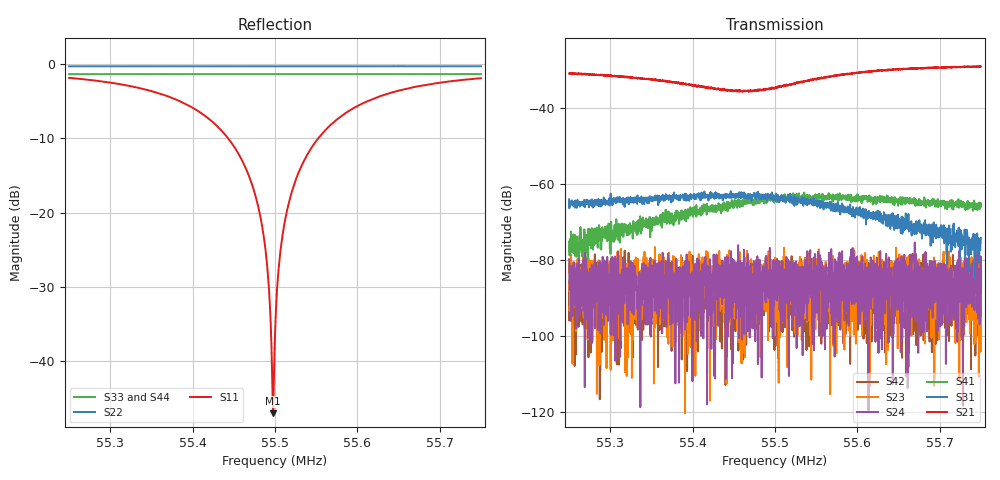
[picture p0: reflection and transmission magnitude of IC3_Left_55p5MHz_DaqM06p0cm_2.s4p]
#  HZ  S  DB  R  50.00
! Rohde & Schwarz Vector Network Analyzer
! Rohde-Schwarz,ZNB8-4Port,1311601044102961,2.82
! Created: UTC 2/13/2019, 9:27:12 AM
! freq[Hz]  db:S11  ang:S11  db:S12  ang:S12  db:S13  ang:S13  db:S14  ang:S14
!  db:S21  ang:S21  db:S22  ang:S22  db:S23  ang:S23  db:S24  ang:S24
!  db:S31  ang:S31  db:S32  ang:S32  db:S33  ang:S33  db:S34  ang:S34
!  db:S41  ang:S41  db:S42  ang:S42  db:S43  ang:S43  db:S44  ang:S44
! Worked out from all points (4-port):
!   2001 points, 55.25 MHz to 55.75 MHz, reference 50 ohm
!   strongest paths, dB at 55.25 MHz, 55.375 MHz, 55.5 MHz, 55.625 MHz, 55.75 MHz:
!     S21: -31.1, -33.3, -34.9, -30.1, -29.2
!     S31: -64.1, -63.2, -63.1, -69.3, -74.2
!     S41: -75.4, -67.8, -63.6, -63.6, -65.9
!     S24: -79.8, -80.4, -90.1, -81.7, -88.8
!     S23: -83.2, -85.3, -99.7, -88.3, -95.2
!     S42: -85.3, -86.7, -82.2, -89.2, -85.1
!   lowest |S11| = -47.0 dB at 55.4978 MHz (marker M1), VSWR 1.01, Z = 49.8 - j0.41 ohm
!   |S11| at or under -10 dB: 55.44302 MHz to 55.55262 MHz (109.6 kHz wide, 0.197 % of centre)
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5.525e7  -1.89 -138.8  -30.86 70.3  -65.26 -148.6  -77.17 -2.9
         -31.05 70.9  -0.34 94.1  -83.18 90.2  -79.78 -178.1
         -64.05 -158.6  -89.52 164.7  -1.40 34.9  -85.44 44.2
         -75.36 -14.4  -85.32 44.3  -84.33 -81.0  -1.38 28.5
5.544825e7  -10.80 169.3  -35.55 77.5  -63.22 159.9  -65.07 -43.3
            -35.67 77.7  -0.32 90.5  -87.88 34.4  -79.67 168.4
            -63.37 163.7  -100.24 -22.3  -1.38 32.5  -91.17 58.5
            -64.70 -35.0  -103.37 150.8  -86.79 -38.5  -1.37 26.1
5.54835e7  -21.33 156.4  -35.25 91.9  -63.31 153.8  -63.61 -55.1
           -35.42 90.9  -0.33 89.9  -82.71 -114.5  -83.37 -159.7
           -63.56 153.6  -84.87 11.3  -1.38 32.1  -90.25 163.1
           -63.84 -54.7  -85.59 177.6  -82.62 48.2  -1.37 25.6
5.549775e7  -46.98 -113.3  -34.74 96.7  -63.53 143.4  -63.62 -56.4
            -34.87 95.3  -0.33 89.6  -86.41 77.1  -86.16 -117.3
            -64.25 146.4  -80.85 102.1  -1.38 32.0  -87.98 41.6
            -64.03 -53.7  -82.85 -25.5  -87.56 -159.1  -1.38 25.4
5.551175e7  -21.29 -41.3  -34.22 97.4  -63.31 141.1  -63.66 -61.8
            -34.04 99.1  -0.33 89.3  -89.05 98.0  -87.42 -160.3
            -63.23 138.7  -86.85 -128.3  -1.38 31.8  -90.13 145.6
            -63.29 -60.3  -87.36 106.2  -88.80 20.8  -1.37 25.2
5.554775e7  -10.72 -54.1  -32.49 101.8  -64.55 131.6  -62.68 -73.7
            -32.47 101.7  -0.33 88.7  -83.60 -83.8  -95.13 136.9
            -64.08 128.7  -87.85 102.2  -1.38 31.3  -82.41 146.4
            -63.15 -75.3  -89.09 170.5  -93.37 21.3  -1.38 24.8
5.575e7  -1.93 -106.3  -29.17 81.7  -74.87 101.5  -65.79 -123.7
         -29.24 80.6  -0.32 85.0  -95.21 83.4  -88.76 -16.2
         -74.22 111.4  -83.51 173.9  -1.38 29.0  -87.09 -2.5
         -65.93 -132.7  -85.07 62.7  -82.73 -20.4  -1.37 22.4
